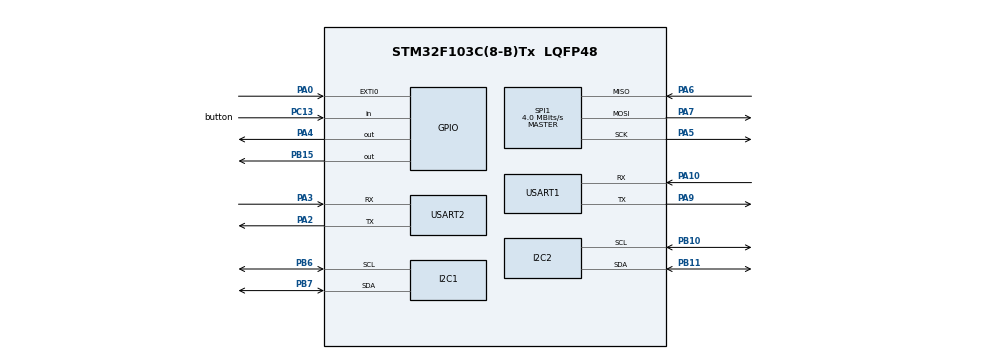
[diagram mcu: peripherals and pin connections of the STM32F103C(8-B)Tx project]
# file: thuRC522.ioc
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I2C1.I2C_Mode=I2C_Fast
I2C2.I2C_Mode=I2C_Fast
Mcu.Family=STM32F1
Mcu.Name=STM32F103C(8-B)Tx
Mcu.Package=LQFP48
NVIC.EXTI0_IRQn=true\:0\:0\:false\:false\:true\:true\:true
NVIC.PriorityGroup=NVIC_PRIORITYGROUP_4
NVIC.TIM3_IRQn=true\:0\:0\:false\:false\:true\:true\:true
NVIC.USART1_IRQn=true\:0\:0\:false\:false\:true\:true\:true
PA0-WKUP.GPIO_ModeDefaultEXTI=GPIO_MODE_IT_FALLING
PA0-WKUP.Signal=GPXTI0
PA10.Mode=Asynchronous
PA10.Signal=USART1_RX
PA13.Mode=Serial_Wire
PA13.Signal=SYS_JTMS-SWDIO
PA14.Mode=Serial_Wire
PA14.Signal=SYS_JTCK-SWCLK
PA2.Mode=Asynchronous
PA2.Signal=USART2_TX
PA3.Mode=Asynchronous
PA3.Signal=USART2_RX
PA4.GPIO_PuPd=GPIO_NOPULL
PA4.GPIO_Speed=GPIO_SPEED_FREQ_HIGH
PA4.PinState=GPIO_PIN_SET
PA4.Signal=GPIO_Output
PA5.Mode=Full_Duplex_Master
PA5.Signal=SPI1_SCK
PA6.Mode=Full_Duplex_Master
PA6.Signal=SPI1_MISO
PA7.Mode=Full_Duplex_Master
PA7.Signal=SPI1_MOSI
PA9.Mode=Asynchronous
PA9.Signal=USART1_TX
PB10.Mode=I2C
PB10.Signal=I2C2_SCL
PB11.Mode=I2C
PB11.Signal=I2C2_SDA
PB15.Signal=GPIO_Output
PB6.Mode=I2C
PB6.Signal=I2C1_SCL
PB7.Mode=I2C
PB7.Signal=I2C1_SDA
PC13-TAMPER-RTC.GPIO_Label=button
PC13-TAMPER-RTC.GPIO_PuPd=GPIO_PULLUP
PC13-TAMPER-RTC.Signal=GPIO_Input
PD0-OSC_IN.Mode=HSE-External-Oscillator
PD0-OSC_IN.Signal=RCC_OSC_IN
PD1-OSC_OUT.Mode=HSE-External-Oscillator
PD1-OSC_OUT.Signal=RCC_OSC_OUT
ProjectManager.HeapSize=0x200
ProjectManager.StackSize=0x400
ProjectManager.TargetToolchain=MDK-ARM V5
RCC.APB1Freq_Value=8000000
RCC.APB2Freq_Value=8000000
RCC.USBFreq_Value=8000000
SPI1.CalculateBaudRate=4.0 MBits/s
SPI1.Direction=SPI_DIRECTION_2LINES
SPI1.Mode=SPI_MODE_MASTER
SPI1.VirtualType=VM_MASTER
TIM3.Period=99
TIM3.Prescaler=8000
USART1.VirtualMode=VM_ASYNC
USART2.VirtualMode=VM_ASYNC
VP_TIM3_VS_ClockSourceINT.Mode=Internal
board=custom

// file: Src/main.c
/* USER CODE BEGIN Header */
/**
  ******************************************************************************
  * @file           : main.c
  * @brief          : Main program body
  ******************************************************************************
  * @attention
  *
  * <h2><center>&copy; Copyright (c) 2020 STMicroelectronics.
  * All rights reserved.</center></h2>
  *
  * This software component is licensed by ST under BSD 3-Clause license,
  * the "License"; You may not use this file except in compliance with the
  * License. You may obtain a copy of the License at:
  *                        opensource.org/licenses/BSD-3-Clause
  *
  ******************************************************************************
  */
/* USER CODE END Header */

#include "main.h"
#include "stm32f1xx_hal.h"//Thu vien Hal
#include "max30100_for_stm32_hal.h"//Thu vien Max
#include "stdio.h"//Thu vien C
#include "rc522.h"//Thu vien RFID
#include "fonts.h"//Thu vien font
#include "ssd1306.h"//Thu vien oled
#include "test.h"
#include "mlx90614.h"//Thu vien nhiet do
I2C_HandleTypeDef hi2c1;//Khoi tao I2C1
I2C_HandleTypeDef hi2c2;//Khoi tao I2C2
SPI_HandleTypeDef hspi1;//Khoi tao
UART_HandleTypeDef huart1;
UART_HandleTypeDef huart2;
TIM_HandleTypeDef htim3;//Khoi tao timer 3

/* USER CODE BEGIN PV */
uint8_t bd=0;
uint8_t t=10;
// variable RFID
uint8_t dataUDP_permit[]="Ma the hop le ";
uint8_t dataUDP_deny[]="Ma the khong hop le ";
uint8_t dulieu[9];
uint8_t thutu=0;
uint8_t haha;
float nhietdo=0;
unsigned int dk=0,dk2=0;
unsigned char CardID[5],CardS[5];
unsigned char MyID[5] = {0x29, 0xc7, 0x67, 0x99, 0x10};	//My card on my keys
unsigned char macardht[10];
float temp =0;
unsigned dem=0;
char buffer[20];
float tong=0;
uint8_t num=0;
uint8_t nut=0,mode=0,dkcheck=0;
uint8_t nut2=0;
/* USER CODE END PV */
////RC522
uint8_t MFRC522_Check(uint8_t* id);
uint8_t MFRC522_Compare(uint8_t* CardID, uint8_t* CompareID);
void MFRC522_WriteRegister(uint8_t addr, uint8_t val);
uint8_t MFRC522_ReadRegister(uint8_t addr);
void MFRC522_SetBitMask(uint8_t reg, uint8_t mask);
void MFRC522_ClearBitMask(uint8_t reg, uint8_t mask);
uint8_t MFRC522_Request(uint8_t reqMode, uint8_t* TagType);
uint8_t MFRC522_ToCard(uint8_t command, uint8_t* sendData, uint8_t sendLen, uint8_t* backData, uint16_t* backLen);
uint8_t MFRC522_Anticoll(uint8_t* serNum);
void MFRC522_CalulateCRC(uint8_t* pIndata, uint8_t len, uint8_t* pOutData);
uint8_t MFRC522_SelectTag(uint8_t* serNum);
uint8_t MFRC522_Auth(uint8_t authMode, uint8_t BlockAddr, uint8_t* Sectorkey, uint8_t* serNum);
uint8_t MFRC522_Read(uint8_t blockAddr, uint8_t* recvData);
uint8_t MFRC522_Write(uint8_t blockAddr, uint8_t* writeData);
void MFRC522_Init(void);
void MFRC522_Reset(void);
void MFRC522_AntennaOn(void);
void MFRC522_AntennaOff(void);
void MFRC522_Halt(void);
////////
void SystemClock_Config(void);
static void MX_GPIO_Init(void);
static void MX_I2C1_Init(void);
static void MX_I2C2_Init(void);
static void MX_SPI1_Init(void);
static void MX_USART1_UART_Init(void);
static void MX_USART2_UART_Init(void);
static void MX_TIM3_Init(void);
#ifdef __GNUC__
 /* With GCC/RAISONANCE, small printf (option LD Linker->Libraries->Small printf
 set to 'Yes') calls __io_putchar() */
 #define PUTCHAR_PROTOTYPE int __io_putchar(int ch)
#else
 #define PUTCHAR_PROTOTYPE int fputc(int ch, FILE *f)
#endif /* __GNUC__ */
PUTCHAR_PROTOTYPE
{
 /* Place your implementation of fputc here */
 /* e.g. write a character to the USART */
 HAL_UART_Transmit(&huart2, (uint8_t *)&ch, 1, 100);
 return ch;
}
/* USER CODE END PFP */

/* USER CODE BEGIN 0 */
void HAL_TIM_PeriodElapsedCallback(TIM_HandleTypeDef *htim)
{
	if(htim->Instance==htim3.Instance)
  {
		dem++;
		if(dem==10&&dk==0)
		{
			temp= MLX90614_ReadTemp(0x00,0x07);
			sprintf(buffer,"TEMP:%.2f%cC",temp,0xF8);
			dem=0;
		}
		if(dk==1)
		{
			if(dem>=15&&dem<=40)
			{
				temp= MLX90614_ReadTemp(0x00,0x07);
				tong+=temp;
			}
			if(dem==41)
			{
				tong=tong/25;
				if(tong>=35&&tong<36)
				{
					tong=tong+1;
				}
				else if (tong<35&&tong>=34)
				{
					tong=tong+2;
				}
				else if(tong<34&&tong>=33)
				{
					tong=tong+3;
				}
				dk=2;
			}
		}
		if(dk==2||dk==3)
		{
			dem=0;
		}
		if(dem==80&&dk==5)
		{
			dk=0;
			dem=0;
			tong=0;
			SSD1306_Clear();
		}
		if(HAL_GPIO_ReadPin(button_GPIO_Port,button_Pin)==0)
		{
			nut=1;
		}
	  if(HAL_GPIO_ReadPin(button_GPIO_Port,button_Pin)==1&&mode==1&&nut==1)
		{
			mode=0;
			nut=0;
			dkcheck=0;
			SSD1306_Clear();
		}
	  if(HAL_GPIO_ReadPin(button_GPIO_Port,button_Pin)==1&&mode==0&&nut==1)
		{
			dk=0;
			mode=1;
			tong=0;
			nut=0;
			SSD1306_Clear();
		}
		if(HAL_GPIO_ReadPin(button_GPIO_Port,GPIO_PIN_14)==0)
		{
			nut2=1;
		}
		if(HAL_GPIO_ReadPin(button_GPIO_Port,GPIO_PIN_14)==1&&nut2==1)
		{

			dkcheck=0;
			dk=0;
			mode=0;
			tong=0;
			nut=0;
			nut2=0;
			SSD1306_Clear();
			dem=0;
			nhietdo=0;
		}

	}
}
void blinkled(void)
{
  HAL_GPIO_WritePin(GPIOA,GPIO_PIN11,HIGH);
  HAL_Delay(1000);
  HAL_GPIO_WritePin(GPIOA,GPIO_PIN11,LOW);
}
int main(void)
{
  uint8_t len;
  uint16_t times=0;

  /* MCU Configuration--------------------------------------------------------*/

  /* Reset of all peripherals, Initializes the Flash interface and the Systick. */
  HAL_Init();

  /* Configure the system clock */
  SystemClock_Config();

  /* Initialize all configured peripherals */
  MX_GPIO_Init();
  MX_I2C1_Init();
  MX_I2C2_Init();
  MX_SPI1_Init();
  MX_USART1_UART_Init();
  MX_USART2_UART_Init();
	MX_TIM3_Init();
	HAL_TIM_Base_Start_IT(&htim3);
	HAL_UART_Receive_IT(&huart1,&bd,1);
	MAX30100_Init(&hi2c1,&huart2);
	MAX30100_SetSpO2SampleRate(MAX30100_SPO2SR_DEFAULT);
	MAX30100_SetLEDPulseWidth(MAX30100_LEDPW_DEFAULT);
	MAX30100_SetLEDCurrent(MAX30100_LEDCURRENT_DEFAULT, MAX30100_LEDCURRENT_DEFAULT);
	MAX30100_SetMode(MAX30100_HRONLY_MODE);
	MFRC522_Init();
	SSD1306_Init();
	SSD1306_GotoXY (0,1);
  SSD1306_Puts ("DAI HOC", &Font_11x18, 1);
  SSD1306_GotoXY (0,20);
  SSD1306_Puts ("GTVT:)", &Font_11x18, 1);
  SSD1306_UpdateScreen(); //display
  HAL_Delay(2000);
	SSD1306_Clear();
  while (1)
  {
		if(mode==0){
		if(dk==0)
		{
			SSD1306_GotoXY (0,0);
			SSD1306_Puts ("->DH GTVT<-",&Font_11x18,1);
      SSD1306_GotoXY (0,16);
		  SSD1306_Puts(buffer,&Font_11x18, 1);
	    SSD1306_UpdateScreen();
			SSD1306_GotoXY (0,33);
			SSD1306_Puts("QUET THE",&Font_11x18, 1);
			SSD1306_UpdateScreen();
			HAL_Delay(10);
		}
		else if(dk==1)
		{
			sprintf(buffer,"%02x%02x%02x%02x%02x",CardS[0], CardS[1], CardS[2], CardS[3], CardS[4]);
			SSD1306_GotoXY (0,0);
      SSD1306_Puts(buffer,&Font_11x18, 1);
			SSD1306_GotoXY (0,15);
		  SSD1306_Puts("SENSOR TEMP",&Font_11x18, 1);
			SSD1306_UpdateScreen();
		}
		else if(dk==2)
		{
			sprintf(buffer,"%02x%02x%02x%02x%02x",CardS[0], CardS[1], CardS[2], CardS[3], CardS[4]);
			SSD1306_GotoXY (0,0);
      SSD1306_Puts(buffer,&Font_11x18, 1);
			SSD1306_GotoXY (0,15);
			sprintf(buffer,"TEMP:%.2f%cC",tong,0xF8);
		  SSD1306_Puts(buffer,&Font_11x18,1);
			SSD1306_GotoXY (20,35);
		  SSD1306_Puts("HR_|",&Font_11x18, 1);
			SSD1306_GotoXY (60,35);
		  SSD1306_Puts("SPO2",&Font_11x18, 1);
			SSD1306_UpdateScreen();
			haha=0x61;
			HAL_UART_Transmit(&huart1,&haha,1,1000);
			dk=3;
		}
		else if(dk==4)
		{
			sprintf(buffer,"%02x%02x%02x%02x%02x",CardS[0], CardS[1], CardS[2], CardS[3], CardS[4]);
			SSD1306_GotoXY (0,0);
      SSD1306_Puts(buffer,&Font_11x18, 1);
			SSD1306_GotoXY (0,16);
			sprintf(buffer,"TEMP:%.2f%cC",tong,0xF8);
		  SSD1306_Puts(buffer,&Font_11x18,1);
			//SSD1306_GotoXY (20,35);
		  //SSD1306_Puts("HR",&Font_7x10, 1);
			//SSD1306_GotoXY (60,33);
		  //SSD1306_Puts("SPO2",&Font_7x10, 1);
			SSD1306_GotoXY (20,35);
		  SSD1306_Puts(dulieu,&Font_11x18, 1);
			SSD1306_Puts("%",&Font_11x18,1);
			printf("<%02x%02x%02x%02x%02x|",CardS[0], CardS[1], CardS[2], CardS[3], CardS[4]);
		  sprintf(buffer,"%.2f|",tong);
			HAL_UART_Transmit(&huart2,buffer,5,1000);
		  haha=0x7c;
			HAL_UART_Transmit(&huart2,&haha,1,1000);
			HAL_UART_Transmit(&huart2,dulieu,6,1000);
			SSD1306_UpdateScreen();
			dk=5;
		}
		if ((MFRC522_Check(CardID) == MI_OK)&&dk==0)
	  {
			CardS[0]=CardID[0];
			CardS[1]=CardID[1];
			CardS[2]=CardID[2];
			CardS[3]=CardID[3];
			CardS[4]=CardID[4];
			dk=1;
			SSD1306_Clear();
			dem=0;

		}
		if(MFRC522_Check(CardID) == MI_OK&&dk>0)
	  {
  			if(MFRC522_Compare(CardID,CardS) != MI_OK)
				{
					CardS[0]=CardID[0];
			    CardS[1]=CardID[1];
			    CardS[2]=CardID[2];
			    CardS[3]=CardID[3];
			    CardS[4]=CardID[4];
					SSD1306_Clear();
					dk=1;
					dem=0;
					tong=0;
				}
		}
		}
	  else if(mode==1)
		{
			SSD1306_GotoXY (0,0);
			SSD1306_Puts ("->DH GTVT<-",&Font_11x18,1);
      SSD1306_GotoXY (0,16);
			SSD1306_Puts ("INDEN CARD",&Font_11x18,1);
			if(dkcheck==0)
			{
				SSD1306_GotoXY (0,33);
				SSD1306_Puts("QUET THE",&Font_11x18, 1);
				SSD1306_UpdateScreen();
		  }
			if ((MFRC522_Check(CardID) == MI_OK)&&dkcheck==0)
			{
				CardS[0]=CardID[0];
				CardS[1]=CardID[1];
				CardS[2]=CardID[2];
				CardS[3]=CardID[3];
				CardS[4]=CardID[4];
				dkcheck=1;
			  sprintf(buffer,"%02x%02x%02x%02x%02x",CardS[0], CardS[1], CardS[2], CardS[3], CardS[4]);
				SSD1306_GotoXY (0,33);
				SSD1306_Puts(buffer,&Font_11x18, 1);
				SSD1306_UpdateScreen();
				printf( "-%02x%02x%02x%02x%02x", CardS[0], CardS[1], CardS[2], CardS[3], CardS[4]);
			}
			if(MFRC522_Check(CardID) == MI_OK&&dkcheck==1)
			{
  			if(MFRC522_Compare(CardID,CardS) != MI_OK)
				{
					CardS[0]=CardID[0];
			    CardS[1]=CardID[1];
			    CardS[2]=CardID[2];
			    CardS[3]=CardID[3];
			    CardS[4]=CardID[4];
					sprintf(buffer,"%02x%02x%02x%02x%02x",CardS[0], CardS[1], CardS[2], CardS[3], CardS[4]);
					SSD1306_GotoXY (0,33);
				  SSD1306_Puts(buffer,&Font_11x18, 1);
					SSD1306_UpdateScreen();
					printf( "-%02x%02x%02x%02x%02x",CardS[0],CardS[1],CardS[2],CardS[3],CardS[4]);

				}
			}
		}
  }
}
void HAL_UART_RxCpltCallback(UART_HandleTypeDef *huart)
{
	if(huart->Instance==huart1.Instance)
  {
		HAL_UART_Receive_IT(&huart1,&bd,1);
		if(dk2==1&&bd==0x3E)
		{

			dk=4;
			dk2=0;
			thutu=0;
			SSD1306_Clear();
			//HAL_UART_Transmit(&huart2,dulieu,5,1000);
		}
		if(dk2==1)
		{
			dulieu[thutu]=bd;
			thutu++;
		}
		if(bd==0x3C)
		{
			dk2=1;
			thutu=0;
		}
	}
}

void SystemClock_Config(void)
{
  RCC_OscInitTypeDef RCC_OscInitStruct = {0};
  RCC_ClkInitTypeDef RCC_ClkInitStruct = {0};

  /** Initializes the CPU, AHB and APB busses clocks
  */
  RCC_OscInitStruct.OscillatorType = RCC_OSCILLATORTYPE_HSI;
  RCC_OscInitStruct.HSIState = RCC_HSI_ON;
  RCC_OscInitStruct.HSICalibrationValue = RCC_HSICALIBRATION_DEFAULT;
  RCC_OscInitStruct.PLL.PLLState = RCC_PLL_NONE;
  if (HAL_RCC_OscConfig(&RCC_OscInitStruct) != HAL_OK)
  {
    Error_Handler();
  }
  /** Initializes the CPU, AHB and APB busses clocks
  */
  RCC_ClkInitStruct.ClockType = RCC_CLOCKTYPE_HCLK|RCC_CLOCKTYPE_SYSCLK
                              |RCC_CLOCKTYPE_PCLK1|RCC_CLOCKTYPE_PCLK2;
  RCC_ClkInitStruct.SYSCLKSource = RCC_SYSCLKSOURCE_HSI;
  RCC_ClkInitStruct.AHBCLKDivider = RCC_SYSCLK_DIV1;
  RCC_ClkInitStruct.APB1CLKDivider = RCC_HCLK_DIV1;
  RCC_ClkInitStruct.APB2CLKDivider = RCC_HCLK_DIV1;

  if (HAL_RCC_ClockConfig(&RCC_ClkInitStruct, FLASH_LATENCY_0) != HAL_OK)
  {
    Error_Handler();
  }
}

static void MX_TIM3_Init(void)
{
  TIM_ClockConfigTypeDef sClockSourceConfig = {0};
  TIM_MasterConfigTypeDef sMasterConfig = {0};
  htim3.Instance = TIM3;
  htim3.Init.Prescaler = 8000;
  htim3.Init.CounterMode = TIM_COUNTERMODE_UP;
  htim3.Init.Period = 99;
  htim3.Init.ClockDivision = TIM_CLOCKDIVISION_DIV1;
  htim3.Init.AutoReloadPreload = TIM_AUTORELOAD_PRELOAD_DISABLE;
  if (HAL_TIM_Base_Init(&htim3) != HAL_OK)
  {
    Error_Handler();
  }
  sClockSourceConfig.ClockSource = TIM_CLOCKSOURCE_INTERNAL;
  if (HAL_TIM_ConfigClockSource(&htim3, &sClockSourceConfig) != HAL_OK)
  {
    Error_Handler();
  }
  sMasterConfig.MasterOutputTrigger = TIM_TRGO_RESET;
  sMasterConfig.MasterSlaveMode = TIM_MASTERSLAVEMODE_DISABLE;
  if (HAL_TIMEx_MasterConfigSynchronization(&htim3, &sMasterConfig) != HAL_OK)
  {
    Error_Handler();
  }

}

static void MX_I2C1_Init(void)
{

  hi2c1.Instance = I2C1;
  hi2c1.Init.ClockSpeed = 100000;
  hi2c1.Init.DutyCycle = I2C_DUTYCYCLE_2;
  hi2c1.Init.OwnAddress1 = 0;
  hi2c1.Init.AddressingMode = I2C_ADDRESSINGMODE_7BIT;
  hi2c1.Init.DualAddressMode = I2C_DUALADDRESS_DISABLE;
  hi2c1.Init.OwnAddress2 = 0;
  hi2c1.Init.GeneralCallMode = I2C_GENERALCALL_DISABLE;
  hi2c1.Init.NoStretchMode = I2C_NOSTRETCH_DISABLE;
  if (HAL_I2C_Init(&hi2c1) != HAL_OK)
  {
    Error_Handler();
  }

}

static void MX_I2C2_Init(void)
{

  hi2c2.Instance = I2C2;
  hi2c2.Init.ClockSpeed = 400000;
  hi2c2.Init.DutyCycle = I2C_DUTYCYCLE_2;
  hi2c2.Init.OwnAddress1 = 0;
  hi2c2.Init.AddressingMode = I2C_ADDRESSINGMODE_7BIT;
  hi2c2.Init.DualAddressMode = I2C_DUALADDRESS_DISABLE;
  hi2c2.Init.OwnAddress2 = 0;
  hi2c2.Init.GeneralCallMode = I2C_GENERALCALL_DISABLE;
  hi2c2.Init.NoStretchMode = I2C_NOSTRETCH_DISABLE;
  if (HAL_I2C_Init(&hi2c2) != HAL_OK)
  {
    Error_Handler();
  }
}

static void MX_SPI1_Init(void)
{

  /* SPI1 parameter configuration*/
  hspi1.Instance = SPI1;
  hspi1.Init.Mode = SPI_MODE_MASTER;
  hspi1.Init.Direction = SPI_DIRECTION_2LINES;
  hspi1.Init.DataSize = SPI_DATASIZE_8BIT;
  hspi1.Init.CLKPolarity = SPI_POLARITY_LOW;
  hspi1.Init.CLKPhase = SPI_PHASE_1EDGE;
  hspi1.Init.NSS = SPI_NSS_SOFT;
  hspi1.Init.BaudRatePrescaler = SPI_BAUDRATEPRESCALER_2;
  hspi1.Init.FirstBit = SPI_FIRSTBIT_MSB;
  hspi1.Init.TIMode = SPI_TIMODE_DISABLE;
  hspi1.Init.CRCCalculation = SPI_CRCCALCULATION_DISABLE;
  hspi1.Init.CRCPolynomial = 10;
  if (HAL_SPI_Init(&hspi1) != HAL_OK)
  {
    Error_Handler();
  }

}

static void MX_USART1_UART_Init(void)
{

  huart1.Instance = USART1;
  huart1.Init.BaudRate = 115200;
  huart1.Init.WordLength = UART_WORDLENGTH_8B;
  huart1.Init.StopBits = UART_STOPBITS_1;
  huart1.Init.Parity = UART_PARITY_NONE;
  huart1.Init.Mode = UART_MODE_TX_RX;
  huart1.Init.HwFlowCtl = UART_HWCONTROL_NONE;
  huart1.Init.OverSampling = UART_OVERSAMPLING_16;
  if (HAL_UART_Init(&huart1) != HAL_OK)
  {
    Error_Handler();
  }

}

static void MX_USART2_UART_Init(void)
{

  huart2.Instance = USART2;
  huart2.Init.BaudRate = 9600;
  huart2.Init.WordLength = UART_WORDLENGTH_8B;
  huart2.Init.StopBits = UART_STOPBITS_1;
  huart2.Init.Parity = UART_PARITY_NONE;
  huart2.Init.Mode = UART_MODE_TX_RX;
  huart2.Init.HwFlowCtl = UART_HWCONTROL_NONE;
  huart2.Init.OverSampling = UART_OVERSAMPLING_16;
  if (HAL_UART_Init(&huart2) != HAL_OK)
  {
    Error_Handler();
  }
}

static void MX_GPIO_Init(void)
{
  GPIO_InitTypeDef GPIO_InitStruct = {0};

  /* GPIO Ports Clock Enable */
  __HAL_RCC_GPIOC_CLK_ENABLE();
  __HAL_RCC_GPIOD_CLK_ENABLE();
  __HAL_RCC_GPIOA_CLK_ENABLE();
  __HAL_RCC_GPIOB_CLK_ENABLE();

  /*Configure GPIO pin Output Level */
  HAL_GPIO_WritePin(GPIOA, GPIO_PIN_4, GPIO_PIN_SET);

  /*Configure GPIO pin Output Level */
  HAL_GPIO_WritePin(GPIOB, GPIO_PIN_15, GPIO_PIN_RESET);

  /*Configure GPIO pin : button_Pin */
  GPIO_InitStruct.Pin = button_Pin;
  GPIO_InitStruct.Mode = GPIO_MODE_INPUT;
  GPIO_InitStruct.Pull = GPIO_PULLUP;
  HAL_GPIO_Init(button_GPIO_Port, &GPIO_InitStruct);

  GPIO_InitStruct.Pin = GPIO_PIN_14;
  GPIO_InitStruct.Mode = GPIO_MODE_INPUT;
  GPIO_InitStruct.Pull = GPIO_PULLUP;
  HAL_GPIO_Init(button_GPIO_Port, &GPIO_InitStruct);
  /*Configure GPIO pin : PA0 */
  GPIO_InitStruct.Pin = GPIO_PIN_0;
  GPIO_InitStruct.Mode = GPIO_MODE_IT_FALLING;
  GPIO_InitStruct.Pull = GPIO_NOPULL;
  HAL_GPIO_Init(GPIOA, &GPIO_InitStruct);

  /*Configure GPIO pin : PA4 */
  GPIO_InitStruct.Pin = GPIO_PIN_4;
  GPIO_InitStruct.Mode = GPIO_MODE_OUTPUT_PP;
  GPIO_InitStruct.Pull = GPIO_NOPULL;
  GPIO_InitStruct.Speed = GPIO_SPEED_FREQ_HIGH;
  HAL_GPIO_Init(GPIOA, &GPIO_InitStruct);

  /*Configure GPIO pin : PB15 */
  GPIO_InitStruct.Pin = GPIO_PIN_15;
  GPIO_InitStruct.Mode = GPIO_MODE_OUTPUT_PP;
  GPIO_InitStruct.Pull = GPIO_NOPULL;
  GPIO_InitStruct.Speed = GPIO_SPEED_FREQ_LOW;
  HAL_GPIO_Init(GPIOB, &GPIO_InitStruct);

  /* EXTI interrupt init*/
  HAL_NVIC_SetPriority(EXTI0_IRQn, 0, 0);
  HAL_NVIC_EnableIRQ(EXTI0_IRQn);

}

void Error_Handler(void)
{
}

/************************ (C) COPYRIGHT STMicroelectronics *****END OF FILE****/
